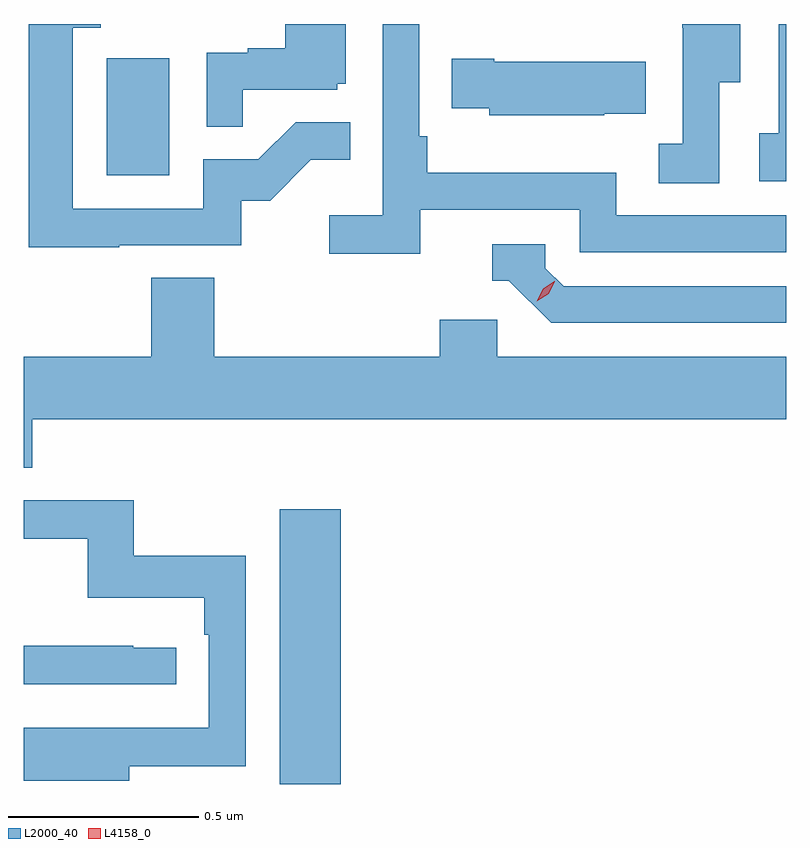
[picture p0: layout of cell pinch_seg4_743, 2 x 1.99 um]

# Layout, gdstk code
import gdstk
lib = gdstk.Library(unit=1e-6, precision=1e-09)
def R(c, l, rs):  # rectangles x0, y0, x1, y1
    for r in rs: c.add(gdstk.rectangle(r[:2], r[2:], *l))
def P(c, l, *ps):  # polygons
    for p in ps: c.add(gdstk.Polygon(p, *l))
L2000_40 = (2000, 40)
L4158_0 = (4158, 0)

pinch_seg4_743 = lib.new_cell('pinch_seg4_743')
R(pinch_seg4_743, L2000_40, [(841.763,819.84,841.924,820.561), (841.31,821.436,841.474,821.743)])
P(pinch_seg4_743, L2000_40, [(841.343,821.253),(841.662,821.253),(841.662,821.37),(841.738,821.37),(841.845,821.477),(841.949,821.477),(841.949,821.576),(841.805,821.576),(841.707,821.478),(841.563,821.478),(841.563,821.349),(841.221,821.349),(841.221,821.823),(841.294,821.823),(841.294,821.833),(841.105,821.833),(841.105,821.248),(841.343,821.248)],
  [(841.667,821.661),(841.914,821.661),(841.914,821.676),(841.936,821.676),(841.936,821.833),(841.778,821.833),(841.778,821.77),(841.679,821.77),(841.679,821.757),(841.572,821.757),(841.572,821.563),(841.667,821.563)],
  [(842.916,821.68),(842.971,821.68),(842.971,821.833),(842.819,821.833),(842.819,821.823),(842.82,821.823),(842.82,821.519),(842.757,821.519),(842.757,821.416),(842.916,821.416)],
  [(842.132,821.346),(842.55,821.346),(842.55,821.235),(843.092,821.235),(843.092,821.331),(842.646,821.331),(842.646,821.443),(842.15,821.443),(842.15,821.539),(842.13,821.539),(842.13,821.833),(842.034,821.833),(842.034,821.332),(841.893,821.332),(841.893,821.23),(842.132,821.23)],
  [(843.092,821.833),(843.072,821.833),(843.072,821.546),(843.021,821.546),(843.021,821.421),(843.092,821.421)],
  [(842.615,821.597),(842.723,821.597),(842.723,821.734),(842.326,821.734),(842.326,821.742),(842.215,821.742),(842.215,821.612),(842.313,821.612),(842.313,821.594),(842.615,821.594)],
  [(843.092,821.145),(842.508,821.145),(842.46,821.193),(842.46,821.256),(842.321,821.256),(842.321,821.16),(842.364,821.16),(842.475,821.049),(843.092,821.049)],
  [(841.115,820.796),(843.092,820.796),(843.092,820.96),(842.334,820.96),(842.334,821.058),(842.183,821.058),(842.183,820.96),(841.592,820.96),(841.592,821.168),(841.427,821.168),(841.427,820.96),(841.092,820.96),(841.092,820.669),(841.115,820.669)],
  [(841.369,819.886),(841.674,819.886),(841.674,820.438),(841.381,820.438),(841.381,820.584),(841.092,820.584),(841.092,820.483),(841.26,820.483),(841.26,820.328),(841.565,820.328),(841.565,820.232),(841.578,820.232),(841.578,819.987),(841.265,819.987),(841.265,819.988),(841.092,819.988),(841.092,819.848),(841.369,819.848)],
  [(841.492,820.197),(841.379,820.197),(841.379,820.202),(841.092,820.202),(841.092,820.101),(841.492,820.101)])
P(pinch_seg4_743, L4158_0, [(842.438,821.106),(842.438,821.106),(842.454,821.139),(842.484,821.159),(842.485,821.159),(842.485,821.158),(842.469,821.126),(842.438,821.106)])

lib.write_gds('pinch_seg4_743.gds')
